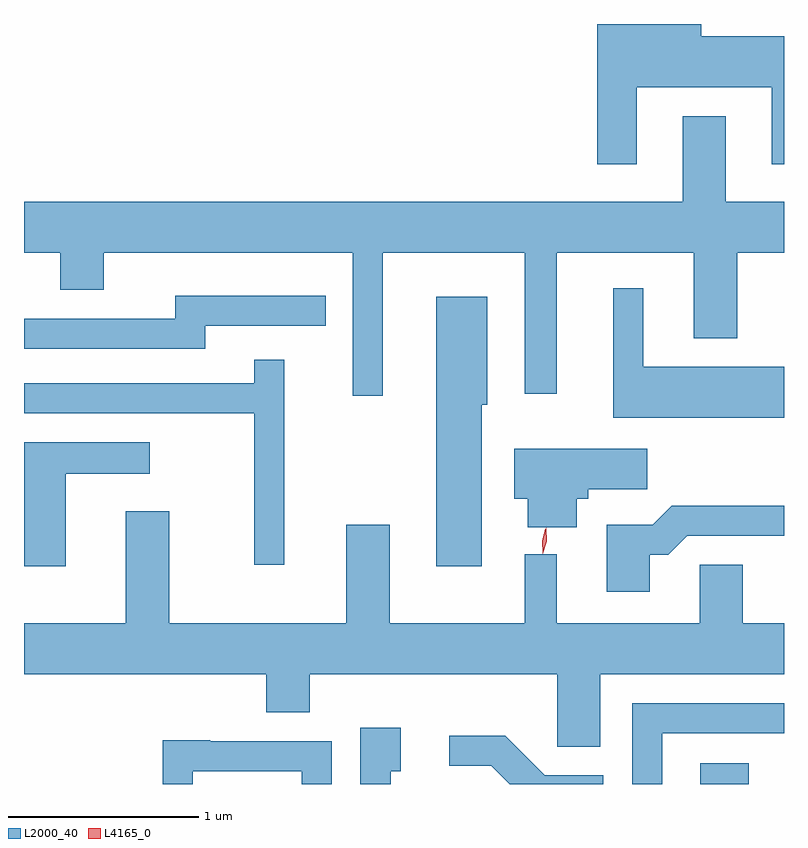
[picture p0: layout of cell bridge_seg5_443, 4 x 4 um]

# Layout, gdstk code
import gdstk
lib = gdstk.Library(unit=1e-6, precision=1e-09)
def R(c, l, rs):  # rectangles x0, y0, x1, y1
    for r in rs: c.add(gdstk.rectangle(r[:2], r[2:], *l))
def P(c, l, *ps):  # polygons
    for p in ps: c.add(gdstk.Polygon(p, *l))
L2000_40 = (2000, 40)
L4165_0 = (4165, 0)

bridge_seg5_443 = lib.new_cell('bridge_seg5_443')
R(bridge_seg5_443, L2000_40, [(548.163,1445.119,548.419,1445.229)])
P(bridge_seg5_443, L2000_40, [(547.829,1448.786),(548.541,1448.786),(548.541,1448.381),(548.605,1448.381),(548.605,1449.054),(548.169,1449.054),(548.169,1449.119),(547.621,1449.119),(547.621,1448.381),(547.829,1448.381)],
  [(546.494,1447.916),(547.241,1447.916),(547.241,1447.173),(547.409,1447.173),(547.409,1447.916),(548.131,1447.916),(548.131,1447.466),(548.359,1447.466),(548.359,1447.916),(548.605,1447.916),(548.605,1448.184),(548.299,1448.184),(548.299,1448.634),(548.071,1448.634),(548.071,1448.184),(544.605,1448.184),(544.605,1447.916),(544.796,1447.916),(544.796,1447.721),(545.024,1447.721),(545.024,1447.916),(546.336,1447.916),(546.336,1447.163),(546.494,1447.163)],
  [(548.605,1447.314),(547.864,1447.314),(547.864,1447.728),(547.706,1447.728),(547.706,1447.046),(548.605,1447.046)],
  [(545.559,1447.531),(546.193,1447.531),(546.193,1447.689),(545.401,1447.689),(545.401,1447.569),(544.605,1447.569),(544.605,1447.411),(545.559,1447.411)],
  [(547.014,1447.116),(547.044,1447.116),(547.044,1447.684),(546.776,1447.684),(546.776,1446.266),(547.014,1446.266)],
  [(545.974,1447.353),(545.816,1447.353),(545.816,1447.229),(544.605,1447.229),(544.605,1447.071),(545.816,1447.071),(545.816,1446.273),(545.974,1446.273)],
  [(544.824,1446.751),(545.268,1446.751),(545.268,1446.919),(544.605,1446.919),(544.605,1446.266),(544.824,1446.266)],
  [(547.514,1446.621),(547.574,1446.621),(547.574,1446.671),(547.884,1446.671),(547.884,1446.884),(547.186,1446.884),(547.186,1446.621),(547.256,1446.621),(547.256,1446.471),(547.514,1446.471)],
  [(547.899,1446.326),(547.997,1446.326),(548.097,1446.426),(548.605,1446.426),(548.605,1446.584),(548.014,1446.584),(547.914,1446.484),(547.671,1446.484),(547.671,1446.131),(547.899,1446.131)],
  [(547.411,1445.316),(547.639,1445.316),(547.639,1445.696),(548.605,1445.696),(548.605,1445.964),(548.389,1445.964),(548.389,1446.274),(548.161,1446.274),(548.161,1445.964),(547.409,1445.964),(547.409,1446.328),(547.241,1446.328),(547.241,1445.964),(546.529,1445.964),(546.529,1446.484),(546.301,1446.484),(546.301,1445.964),(545.369,1445.964),(545.369,1446.554),(545.141,1446.554),(545.141,1445.964),(544.605,1445.964),(544.605,1445.696),(545.881,1445.696),(545.881,1445.496),(546.109,1445.496),(546.109,1445.696),(547.411,1445.696)],
  [(547.964,1445.386),(548.605,1445.386),(548.605,1445.544),(547.806,1445.544),(547.806,1445.119),(547.964,1445.119)],
  [(546.534,1445.186),(546.589,1445.186),(546.589,1445.414),(546.376,1445.414),(546.376,1445.119),(546.534,1445.119)],
  [(547.654,1445.164),(547.347,1445.164),(547.137,1445.374),(546.843,1445.374),(546.843,1445.216),(547.064,1445.216),(547.161,1445.119),(547.654,1445.119)],
  [(545.494,1445.186),(546.066,1445.186),(546.066,1445.119),(546.224,1445.119),(546.224,1445.344),(545.585,1445.344),(545.585,1445.349),(545.336,1445.349),(545.336,1445.119),(545.494,1445.119)])
P(bridge_seg5_443, L4165_0, [(547.336,1446.33),(547.336,1446.33),(547.335,1446.399),(547.354,1446.466),(547.354,1446.467),(547.354,1446.466),(547.355,1446.397),(547.336,1446.33)],
  [(547.335,1446.333),(547.335,1446.333),(547.332,1446.399),(547.348,1446.463),(547.349,1446.463),(547.349,1446.463),(547.352,1446.397),(547.336,1446.333)])

lib.write_gds('bridge_seg5_443.gds')
